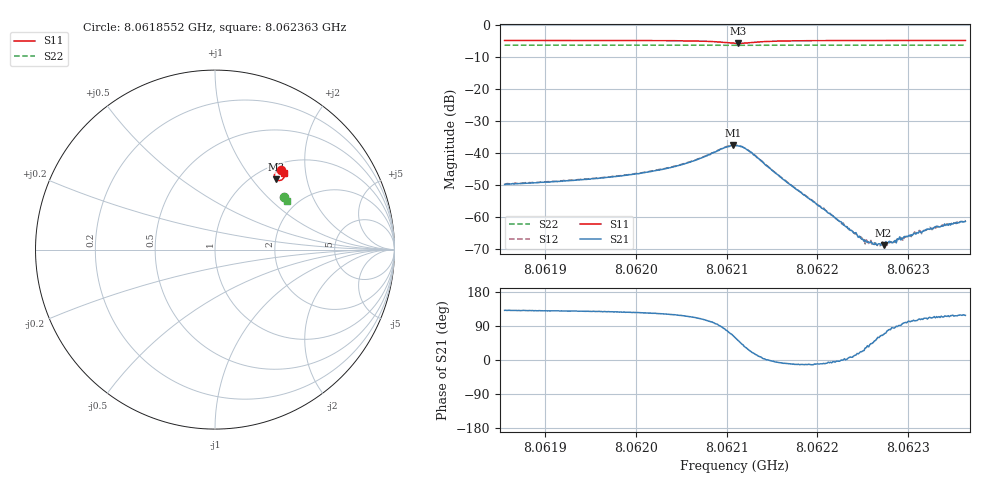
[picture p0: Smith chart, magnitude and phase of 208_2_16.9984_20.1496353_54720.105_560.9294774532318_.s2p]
#  HZ  S  RI  R  50.00
! Rohde & Schwarz Vector Network Analyzer
! Rohde-Schwarz,ZNB20-2Port,1311601062101988,3.16
! Created: UTC 3/20/2024, 11:01:21 PM
! freq[Hz]  re:S11  im:S11  re:S21  im:S21  re:S12  im:S12  re:S22  im:S22
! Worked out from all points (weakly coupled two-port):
!   401 points, 8.0618552 GHz to 8.062363 GHz, reference 50 ohm
!   highest |S21| = -37.61 dB at 8.0621066 GHz (marker M1); lowest = -68.9 dB at 8.0622729 GHz (marker M2)
!   lowest |S11| = -5.7 dB at 8.0621129 GHz (marker M3), VSWR 3.15, Z = 62.1 + j66.5 ohm
!   |S11| at or under -10 dB: nowhere
!   |S22| runs from -6.3 to -6.3 dB; largest |S21 - S12| = 0.00098
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8.06185518e9  0.3672 0.4436  -0.00211 0.00243  -0.00202 0.00259  0.387 0.2946
8.06194024e9  0.3736 0.4377  -0.0024 0.00298  -0.00224 0.00313  0.3899 0.2905
8.06199483e9  0.3785 0.4319  -0.00267 0.00374  -0.00251 0.00394  0.3919 0.2877
8.0620253e9  0.3818 0.4269  -0.00289 0.00454  -0.00266 0.00484  0.3929 0.2861
8.06206212e9  0.3854 0.4152  -0.00292 0.00682  -0.00257 0.00705  0.394 0.2839
8.06209767e9  0.3701 0.3875  0.00161 0.012  0.00239 0.012  0.394 0.2812
8.06210655e9  0.3531 0.3852  0.00548 0.012  0.00637 0.0116  0.3935 0.281
8.06210909e9  0.3477 0.3867  0.00669 0.0112  0.00751 0.0109  0.3934 0.2811
8.0621129e9  0.3402 0.3914  0.00812 0.00996  0.00884 0.00961  0.3933 0.2812
8.0621256e9  0.3309 0.4158  0.00955 0.00429  0.00985 0.0037  0.3936 0.2817
8.06216369e9  0.3563 0.4395  0.00369 -0.000561  0.00369 -0.000826  0.3965 0.2806
8.06219416e9  0.367 0.4385  0.00175 -0.000383  0.00176 -0.000463  0.3977 0.2789
8.06224621e9  0.376 0.4345  0.000472 0.000162  0.000461 0.000168  0.3998 0.2762
8.0622551e9  0.3769 0.4338  0.000317 0.000245  0.000354 0.00021  0.4 0.2758
8.06226652e9  0.3783 0.4331  0.000186 0.000323  0.000236 0.000255  0.4004 0.2753
8.06227287e9  0.3789 0.4328  0.000138 0.000332  0.000172 0.000351  0.4006 0.2748
8.06227922e9  0.3796 0.4322  6.77e-05 0.000408  0.000117 0.000376  0.4009 0.2745
8.0622843e9  0.38 0.4319  4.26e-05 0.000411  8.91e-05 0.000396  0.4009 0.2743
8.06228937e9  0.3804 0.4316  -6.69e-06 0.000442  4.1e-05 0.000458  0.4013 0.274
8.06229699e9  0.3812 0.4312  -7.82e-05 0.000486  -4.1e-05 0.000481  0.4014 0.2736
8.06232238e9  0.3833 0.4294  -0.000234 0.000601  -0.000164 0.000646  0.4022 0.2723
8.06236301e9  0.3865 0.427  -0.000395 0.00075  -0.000375 0.000805  0.4035 0.2702
